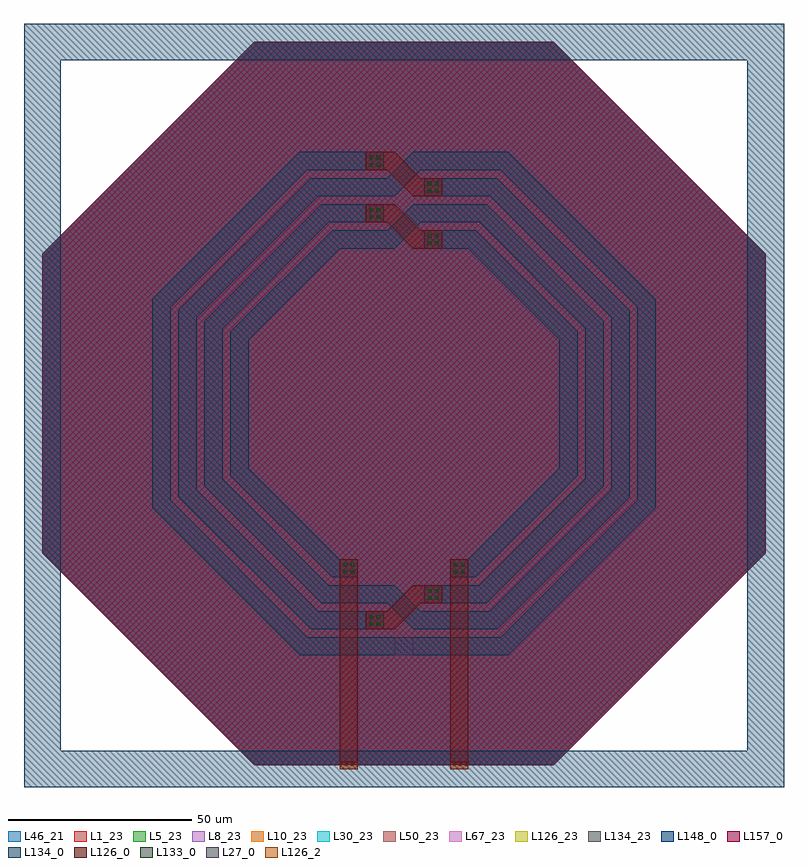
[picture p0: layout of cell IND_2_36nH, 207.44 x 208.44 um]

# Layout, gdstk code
import gdstk
lib = gdstk.Library(unit=1e-6, precision=1e-09)
def R(c, l, rs):  # rectangles x0, y0, x1, y1
    for r in rs: c.add(gdstk.rectangle(r[:2], r[2:], *l))
def P(c, l, *ps):  # polygons
    for p in ps: c.add(gdstk.Polygon(p, *l))
L1_23 = (1, 23)
L5_23 = (5, 23)
L8_23 = (8, 23)
L10_23 = (10, 23)
L27_0 = (27, 0)
L30_23 = (30, 23)
L46_21 = (46, 21)
L50_23 = (50, 23)
L67_23 = (67, 23)
L126_0 = (126, 0)
L126_2 = (126, 2)
L126_23 = (126, 23)
L133_0 = (133, 0)
L134_0 = (134, 0)
L134_23 = (134, 23)
L148_0 = (148, 0)
L157_0 = (157, 0)

inductor2 = lib.new_cell('inductor2')
P(inductor2, L1_23, [(-40.89,0),(-98.72,57.83),(-98.72,139.61),(-40.89,197.44),(40.89,197.44),(98.72,139.61),(98.72,57.83),(40.89,0)])
P(inductor2, L5_23, [(-40.89,0),(-98.72,57.83),(-98.72,139.61),(-40.89,197.44),(40.89,197.44),(98.72,139.61),(98.72,57.83),(40.89,0)])
P(inductor2, L8_23, [(-40.89,0),(-98.72,57.83),(-98.72,139.61),(-40.89,197.44),(40.89,197.44),(98.72,139.61),(98.72,57.83),(40.89,0)])
P(inductor2, L10_23, [(-40.89,0),(-98.72,57.83),(-98.72,139.61),(-40.89,197.44),(40.89,197.44),(98.72,139.61),(98.72,57.83),(40.89,0)])
R(inductor2, L27_0, [(-2.51,29.99,2.51,35.01)])
P(inductor2, L30_23, [(-40.89,0),(-98.72,57.83),(-98.72,139.61),(-40.89,197.44),(40.89,197.44),(98.72,139.61),(98.72,57.83),(40.89,0)])
P(inductor2, L46_21, [(-40.89,0),(-98.72,57.83),(-98.72,139.61),(-40.89,197.44),(40.89,197.44),(98.72,139.61),(98.72,57.83),(40.89,0)])
P(inductor2, L50_23, [(-40.89,0),(-98.72,57.83),(-98.72,139.61),(-40.89,197.44),(40.89,197.44),(98.72,139.61),(98.72,57.83),(40.89,0)])
P(inductor2, L67_23, [(-40.89,0),(-98.72,57.83),(-98.72,139.61),(-40.89,197.44),(40.89,197.44),(98.72,139.61),(98.72,57.83),(40.89,0)])
P(inductor2, L126_0, [(2.535,141.06),(-4.585,148.18),(-10.475,148.18),(-10.475,153.18),(-2.535,153.18),(4.585,146.06),(10.475,146.06),(10.475,141.06)],
  [(2.535,155.3),(-4.585,162.42),(-10.475,162.42),(-10.475,167.42),(-2.535,167.42),(4.585,160.3),(10.475,160.3),(10.475,155.3)],
  [(-10.475,37.1),(-10.475,42.1),(-4.595,42.1),(2.505,49.2),(10.485,49.2),(10.485,44.2),(4.585,44.2),(-2.515,37.1)])
R(inductor2, L126_2, [(-17.575,-1,-12.575,1), (12.575,-1,17.575,1)])
P(inductor2, L126_23, [(-40.89,0),(-98.72,57.83),(-98.72,139.61),(-40.89,197.44),(40.89,197.44),(98.72,139.61),(98.72,57.83),(40.89,0)])
R(inductor2, L133_0, [(-9.405,38.17,-8.505,39.07), (-7.445,38.17,-6.545,39.07), (-9.405,40.13,-8.505,41.03), (-7.445,40.13,-6.545,41.03), (6.555,45.27,7.455,46.17), (8.515,45.27,9.415,46.17), (6.555,47.23,7.455,48.13), (8.515,47.23,9.415,48.13), (-16.505,52.37,-15.605,53.27), (-14.545,52.37,-13.645,53.27), (13.645,52.37,14.545,53.27), (15.605,52.37,16.505,53.27), (-16.505,54.33,-15.605,55.23), (-14.545,54.33,-13.645,55.23), (13.645,54.33,14.545,55.23), (15.605,54.33,16.505,55.23), (6.545,142.13,7.445,143.03), (8.505,142.13,9.405,143.03), (6.545,144.09,7.445,144.99), (8.505,144.09,9.405,144.99), (-9.405,149.23,-8.505,150.13), (-7.445,149.23,-6.545,150.13), (-9.405,151.19,-8.505,152.09), (-7.445,151.19,-6.545,152.09), (6.545,156.37,7.445,157.27), (8.505,156.37,9.405,157.27), (6.545,158.33,7.445,159.23), (8.505,158.33,9.405,159.23), (-9.405,163.47,-8.505,164.37), (-7.445,163.47,-6.545,164.37), (-9.405,165.43,-8.505,166.33), (-7.445,165.43,-6.545,166.33)])
R(inductor2, L134_0, [(-5.475,30,5.475,35)])
P(inductor2, L134_0, [(12.575,51.3),(12.575,56.3),(17.55,56.3),(42.38,81.13),(42.38,116.23),(17.55,141.06),(5.475,141.06),(5.475,146.06),(19.63,146.06),(47.38,118.31),(47.38,79.05),(19.63,51.3)],
  [(-19.63,51.3),(-47.38,79.05),(-47.38,118.31),(-19.63,146.06),(-5.475,146.06),(-5.475,141.06),(-17.55,141.06),(-42.38,116.23),(-42.38,81.13),(-17.55,56.3),(-12.575,56.3),(-12.575,51.3)],
  [(-5.475,141.06),(-5.475,146.06),(-4.585,146.06),(2.535,153.18),(5.475,153.18),(5.475,148.18),(4.615,148.18),(-2.505,141.06)],
  [(5.475,44.2),(5.475,49.2),(20.495,49.2),(49.49,78.195),(49.49,119.185),(20.495,148.18),(5.475,148.18),(5.475,153.18),(22.575,153.18),(54.49,121.265),(54.49,76.115),(22.575,44.2)],
  [(-22.575,44.2),(-54.49,76.115),(-54.49,121.265),(-22.575,153.18),(-5.475,153.18),(-5.475,148.18),(-20.495,148.18),(-49.49,119.185),(-49.49,78.195),(-20.495,49.2),(-5.475,49.2),(-5.475,44.2)],
  [(5.475,37.1),(5.475,42.1),(23.44,42.1),(56.6,75.26),(56.6,122.14),(23.44,155.3),(5.475,155.3),(5.475,160.3),(25.52,160.3),(61.6,124.22),(61.6,73.18),(25.52,37.1)],
  [(-25.52,37.1),(-61.6,73.18),(-61.6,124.22),(-25.52,160.3),(-5.475,160.3),(-5.475,155.3),(-23.44,155.3),(-56.6,122.14),(-56.6,75.26),(-23.44,42.1),(-5.475,42.1),(-5.475,37.1)],
  [(-5.475,155.3),(-5.475,160.3),(-4.585,160.3),(2.535,167.42),(5.475,167.42),(5.475,162.42),(4.615,162.42),(-2.505,155.3)],
  [(2.515,37.1),(-4.585,44.2),(-5.475,44.2),(-5.475,49.2),(-2.505,49.2),(4.595,42.1),(5.475,42.1),(5.475,37.1)],
  [(5.475,30),(5.475,35),(26.385,35),(63.71,72.325),(63.71,125.095),(26.385,162.42),(5.475,162.42),(5.475,167.42),(28.465,167.42),(68.71,127.175),(68.71,70.245),(28.465,30)],
  [(-28.465,30),(-68.71,70.245),(-68.71,127.175),(-28.465,167.42),(-5.475,167.42),(-5.475,162.42),(-26.385,162.42),(-63.71,125.095),(-63.71,72.325),(-26.385,35),(-5.475,35),(-5.475,30)])
P(inductor2, L134_23, [(-40.89,0),(-98.72,57.83),(-98.72,139.61),(-40.89,197.44),(40.89,197.44),(98.72,139.61),(98.72,57.83),(40.89,0)])
P(inductor2, L148_0, [(-40.89,0),(-98.72,57.83),(-98.72,139.61),(-40.89,197.44),(40.89,197.44),(98.72,139.61),(98.72,57.83),(40.89,0)])
P(inductor2, L157_0, [(-40.89,0),(-98.72,57.83),(-98.72,139.61),(-40.89,197.44),(40.89,197.44),(98.72,139.61),(98.72,57.83),(40.89,0)])
inductor2.add(gdstk.FlexPath([(15.075,-1),(15.075,56.3)], 5, ends="flush", simple_path=True, layer=126, datatype=0))  # L126_0
inductor2.add(gdstk.FlexPath([(-15.075,-1),(-15.075,56.3)], 5, ends="flush", simple_path=True, layer=126, datatype=0))  # L126_0
inductor2.add(gdstk.Label('L2_TM2', (0,32.5), layer=63, texttype=0))
inductor2.add(gdstk.Label('LB', (15.075,0), layer=63, texttype=0))
inductor2.add(gdstk.Label('LA', (-15.075,0), layer=63, texttype=0))
inductor2.add(gdstk.Label('inductor2', (0,102.305), layer=63, texttype=0))

ind_2_36nh = lib.new_cell('IND_2_36nH')
ind_2_36nh.add(gdstk.FlexPath([(98.72,-1),(-98.72,-1),(-98.72,197.44),(98.72,197.44),(98.72,-6)], 10, ends="flush", simple_path=True, layer=134, datatype=0))  # L134_0
ind_2_36nh.add(gdstk.Reference(inductor2, (0,0)))

lib.write_gds('IND_2_36nH.gds')
